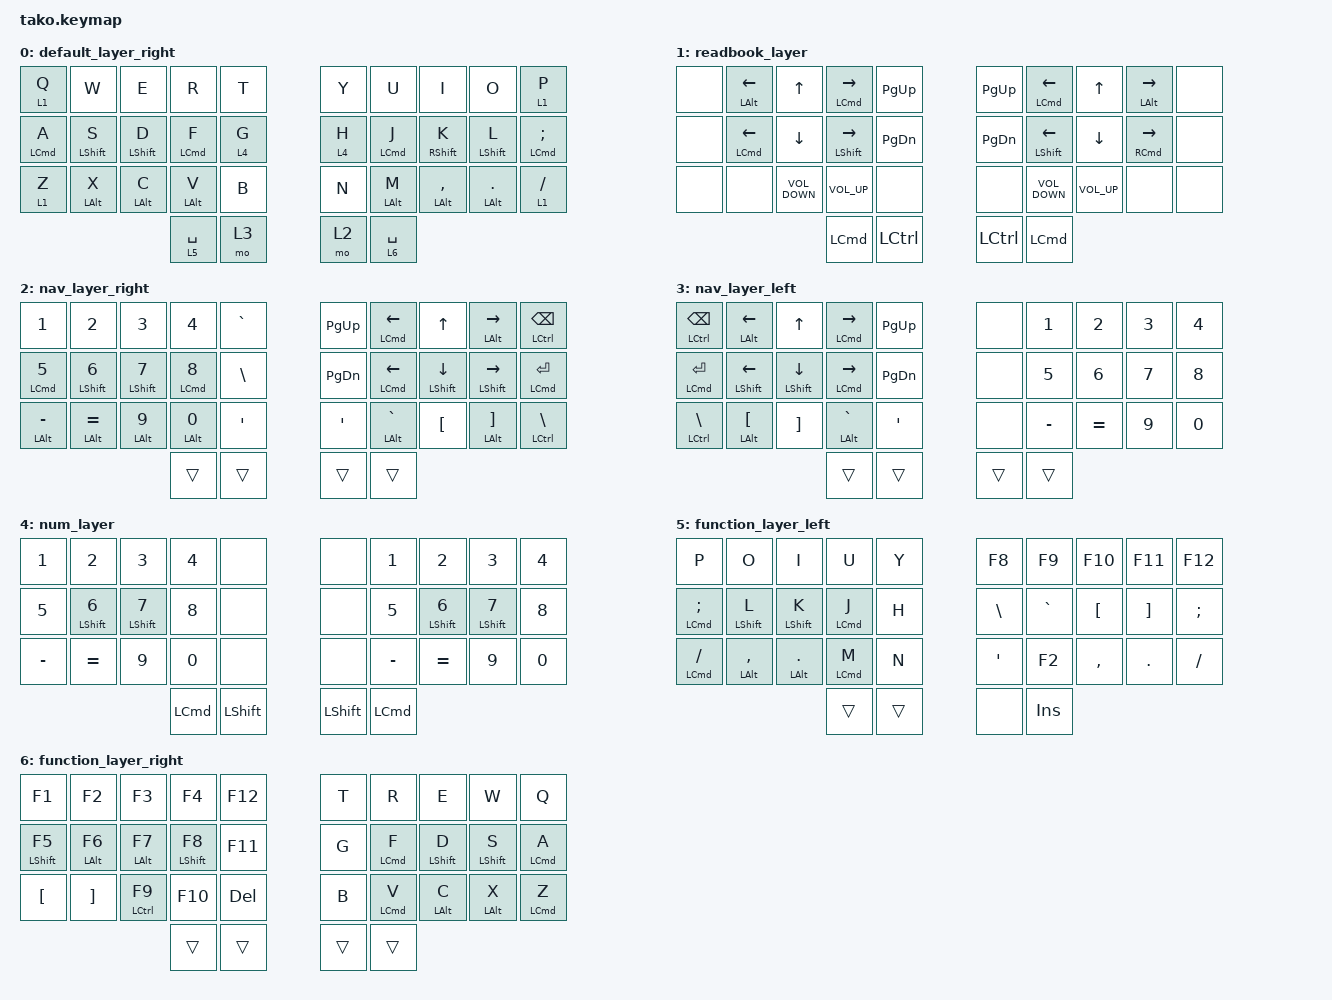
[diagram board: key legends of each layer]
/*
 * Copyright (c) 2020 The ZMK Contributors
 *
 * SPDX-License-Identifier: MIT
 */

#include <behaviors.dtsi>
#include <dt-bindings/zmk/keys.h>

#define NAV_L 1
#define OTHER_L 2
#define NUM_L 3
#define SYM_L 4

// Using layer taps on thumbs, having quick tap as well helps w/ repeating space/backspace

&lt { quick_tap_ms = <200>; };

/ {
    behaviors {
        hm: homerow_mods {
            compatible = "zmk,behavior-hold-tap";
            label = "homerow mods";
            #binding-cells = <2>;
            tapping_term_ms = <200>;
            flavor = "tap-preferred";
            bindings = <&kp>, <&kp>;
        };

        click_layer: click_layer {
            compatible = "zmk,behavior-hold-tap";
            label = "CLICK_LAYER";
            #binding-cells = <2>;
            tapping_term_ms = <200>;
            flavor = "tap-preferred";
            bindings = <&mo>, <&to>;
        };

        l2_tapDance: l2_tapDance {
            compatible = "zmk,behavior-tap-dance";
            label = "L2_TAPDANCE";
            #binding-cells = <0>;
            bindings = <&hm LEFT_ALT X>, <&kp ESCAPE>;
        };

        r1_tapDance: r1_tapDance {
            compatible = "zmk,behavior-tap-dance";
            label = "R1_TAPDANCE";
            #binding-cells = <0>;
            bindings = <&kp COMMA>, <&kp LEFT_SHIFT>;
        };

        l1_tapDance: l1_tapDance {
            compatible = "zmk,behavior-tap-dance";
            label = "L1_TAPDANCE";
            #binding-cells = <0>;
            bindings = <&lt 5 ESCAPE>, <&to 0>;
        };

        r2_tapDance: r2_tapDance {
            compatible = "zmk,behavior-tap-dance";
            label = "R2_TAPDANCE";
            #binding-cells = <0>;
            bindings = <&hm LEFT_ALT PERIOD>, <&kp ESC>;
        };

        changed_sen: changed_sen {
            compatible = "zmk,behavior-mod-morph";
            label = "CHANGED_SEN";
            bindings = <&kp SEMICOLON>, <&kp TAB>;

            #binding-cells = <0>;
            mods = <(MOD_RGUI|MOD_RCTL|MOD_LCTL|MOD_LGUI)>;
            keep-mods = <(MOD_RGUI|MOD_LCTL|MOD_LGUI|MOD_RCTL)>;
        };

        new_behavior: new_behavior {
            compatible = "zmk,behavior-hold-tap";
            label = "NEW_BEHAVIOR";
            bindings = <&changed_sen>, <&kp>;

            #binding-cells = <2>;
            tapping-term-ms = <200>;
        };

        new_behavior1: new_behavior1 {
            compatible = "zmk,behavior-caps-word";
            label = "NEW_BEHAVIOR1";
            #binding-cells = <0>;
            continue-list = <LEFT_COMMAND>;
        };

        com_macro: com_macro {
            compatible = "zmk,behavior-hold-tap";
            label = "COM_MACRO";
            #binding-cells = <2>;
            tapping_term_ms = <200>;
            flavor = "tap-preferred";
            bindings = <&new_behavior1>, <&kp>;
        };

        con_macro: con_macro {
            compatible = "zmk,behavior-hold-tap";
            label = "CON_MACRO";
            #binding-cells = <2>;
            tapping_term_ms = <200>;
            flavor = "tap-preferred";
            bindings = <&ew_con_macro>, <&kp>;
        };

        pppp: pppp {
            compatible = "zmk,behavior-hold-tap";
            label = "PPPP";
            bindings = <&kp>, <&kp>;

            #binding-cells = <2>;
            tapping-term-ms = <5000>;
            flavor = "tap-unless-interrupted";
        };
    };

    combos {
        compatible = "zmk,combos";

        left_bkt {
            bindings = <&kp LEFT_BRACKET>;
            key-positions = <2 3>;
        };

        right_bkt {
            bindings = <&kp RBKT>;
            key-positions = <7 6>;
        };

        left_par {
            bindings = <&kp TAB>;
            key-positions = <13 12>;
        };

        right_par {
            bindings = <&kp TAB>;
            key-positions = <16 17>;
        };

        left_brc {
            bindings = <&kp LBRC>;
            key-positions = <22 23>;
        };

        right_brc {
            bindings = <&kp RBRC>;
            key-positions = <26 27>;
        };

        blsh {
            bindings = <&kp BSLH>;
            key-positions = <4 5>;
        };

        pipe {
            bindings = <&kp PIPE>;
            key-positions = <14 15>;
        };

        shift {
            bindings = <&kp LEFT_SHIFT>;
            key-positions = <17 18>;
        };

        left_shift {
            bindings = <&kp LEFT_SHIFT>;
            key-positions = <11 12>;
        };

        left_tab {
            bindings = <&kp TAB>;
            key-positions = <1 2>;
        };

        right_tab {
            bindings = <&kp TAB>;
            key-positions = <7 8>;
        };

        left_esc {
            bindings = <&kp ESC>;
            key-positions = <21 22>;
        };

        right_esc {
            bindings = <&kp ESC>;
            key-positions = <27 28>;
        };
    };

    macros {
        ew_com_macro: new_macro {
            compatible = "zmk,behavior-macro";
            #binding-cells = <0>;
            bindings =
                <&macro_press>,
                <&mo 0 &kp LEFT_COMMAND>,
                <&macro_pause_for_release>;

            label = "NEW_MACRO";
        };

        ew_con_macro: dddd {
            compatible = "zmk,behavior-macro";
            #binding-cells = <0>;
            bindings = <&mo 0 &kp LEFT_CONTROL>;
            label = "DDDD";
        };
    };

    keymap {
        compatible = "zmk,keymap";

        default_layer_right {
            bindings = <
&lt 1 Q             &kp W               &kp E               &kp R               &kp T      &kp Y    &kp U               &kp I               &kp O                &lt 1 P
&hm LEFT_COMMAND A  &pppp LEFT_SHIFT S  &pppp LEFT_SHIFT D  &hm LEFT_COMMAND F  &lt 4 G    &lt 4 H  &hm LEFT_COMMAND J  &pppp RSHFT K       &pppp LEFT_SHIFT L   &hm LEFT_COMMAND SEMICOLON
&lt 1 Z             &hm LEFT_ALT X      &hm LEFT_ALT C      &hm LEFT_ALT V      &kp B      &kp N    &hm LEFT_ALT M      &hm LEFT_ALT COMMA  &hm LEFT_ALT PERIOD  &lt 1 FSLH
                                                            &lt 5 SPACE         &mo 3      &mo 2    &lt 6 SPACE
            >;
        };

        readbook_layer {
            bindings = <
&none  &hm LEFT_ALT LEFT      &kp UP_ARROW       &hm LEFT_COMMAND RIGHT  &kp PG_UP           &kp PAGE_UP       &hm LEFT_COMMAND LEFT_ARROW  &kp UP_ARROW    &hm LEFT_ALT RIGHT             &none
&none  &hm LEFT_COMMAND LEFT  &kp DOWN_ARROW     &hm LEFT_SHIFT RIGHT    &kp PG_DN           &kp PAGE_DOWN     &hm LEFT_SHIFT LEFT          &kp DOWN_ARROW  &hm RIGHT_COMMAND RIGHT_ARROW  &none
&none  &none                  &kp C_VOLUME_DOWN  &kp C_VOL_UP            &none               &none             &kp C_VOLUME_DOWN            &kp C_VOL_UP    &none                          &none
                                                 &kp LEFT_COMMAND        &kp LEFT_CONTROL    &kp LEFT_CONTROL  &kp LEFT_COMMAND
            >;
        };

        nav_layer_right {
            bindings = <
&kp NUMBER_1         &kp NUMBER_2             &kp NUMBER_3       &kp NUMBER_4         &kp GRAVE        &kp PAGE_UP    &hm LEFT_COMMAND LEFT        &kp UP_ARROW       &hm LEFT_ALT RIGHT          &hm LEFT_CONTROL BACKSPACE
&hm LEFT_COMMAND N5  &hm LEFT_SHIFT NUMBER_6  &hm LEFT_SHIFT N7  &hm LEFT_COMMAND N8  &kp BACKSLASH    &kp PAGE_DOWN  &hm LEFT_COMMAND LEFT_ARROW  &pppp LSHIFT DOWN  &pppp LEFT_SHIFT RIGHT      &hm LEFT_COMMAND ENTER
&hm LEFT_ALT MINUS   &hm LEFT_ALT EQUAL       &hm LEFT_ALT N9    &hm LEFT_ALT N0      &kp SQT          &kp SQT        &hm LEFT_ALT GRAVE           &kp LEFT_BRACKET   &hm LEFT_ALT RIGHT_BRACKET  &hm LEFT_CONTROL BACKSLASH
                                                                 &trans               &trans           &trans         &trans
            >;
        };

        nav_layer_left {
            bindings = <
&hm LEFT_CONTROL BACKSPACE  &hm LEFT_ALT LEFT          &kp UP_ARROW           &hm LEFT_COMMAND RIGHT  &kp PAGE_UP      &none   &kp N1     &kp N2     &kp N3  &kp N4
&hm LEFT_COMMAND ENTER      &pppp LEFT_SHIFT LEFT      &pppp LEFT_SHIFT DOWN  &hm LEFT_COMMAND RIGHT  &kp PAGE_DOWN    &none   &kp N5     &kp N6     &kp N7  &kp N8
&hm LEFT_CONTROL BACKSLASH  &hm LEFT_ALT LEFT_BRACKET  &kp RIGHT_BRACKET      &hm LEFT_ALT GRAVE      &kp SQT          &none   &kp MINUS  &kp EQUAL  &kp N9  &kp N0
                                                                              &trans                  &trans           &trans  &trans
            >;
        };

        num_layer {
            bindings = <
&kp N1     &kp N2               &kp N3               &kp N4            &none             &none           &kp N1            &kp N2               &kp N3               &kp N4
&kp N5     &pppp LEFT_SHIFT N6  &pppp LEFT_SHIFT N7  &kp N8            &none             &none           &kp N5            &pppp LEFT_SHIFT N6  &pppp LEFT_SHIFT N7  &kp N8
&kp MINUS  &kp EQUAL            &kp N9               &kp N0            &none             &none           &kp MINUS         &kp EQUAL            &kp N9               &kp N0
                                                     &kp LEFT_COMMAND  &kp LEFT_SHIFT    &kp LEFT_SHIFT  &kp LEFT_COMMAND
            >;
        };

        function_layer_left {
            bindings = <
&kp P                       &kp O               &kp I                &kp U               &kp Y     &kp F8    &kp F9      &kp F10           &kp F11            &kp F12
&hm LEFT_COMMAND SEMICOLON  &hm LSHIFT L        &hm LEFT_SHIFT K     &hm LEFT_COMMAND J  &kp H     &kp BSLH  &kp GRAVE   &kp LEFT_BRACKET  &kp RIGHT_BRACKET  &kp SEMICOLON
&hm LEFT_COMMAND FSLH       &hm LEFT_ALT COMMA  &hm LEFT_ALT PERIOD  &hm LEFT_COMMAND M  &kp N     &kp SQT   &kp F2      &kp COMMA         &kp PERIOD         &kp SLASH
                                                                     &trans              &trans    &none     &kp INSERT
            >;
        };

        function_layer_right {
            bindings = <
&kp F1             &kp F2             &kp F3               &kp F4             &kp F12       &kp T   &kp R               &kp E             &kp W             &kp Q
&hm LEFT_SHIFT F5  &hm LEFT_ALT F6    &hm LEFT_ALT F7      &hm LEFT_SHIFT F8  &kp F11       &kp G   &hm LEFT_COMMAND F  &hm LEFT_SHIFT D  &hm LEFT_SHIFT S  &hm LEFT_COMMAND A
&kp LEFT_BRACKET   &kp RIGHT_BRACKET  &hm LEFT_CONTROL F9  &kp F10            &kp DELETE    &kp B   &hm LEFT_COMMAND V  &hm LEFT_ALT C    &hm LEFT_ALT X    &hm LEFT_COMMAND Z
                                                           &trans             &trans        &trans  &trans
            >;
        };
    };
};
